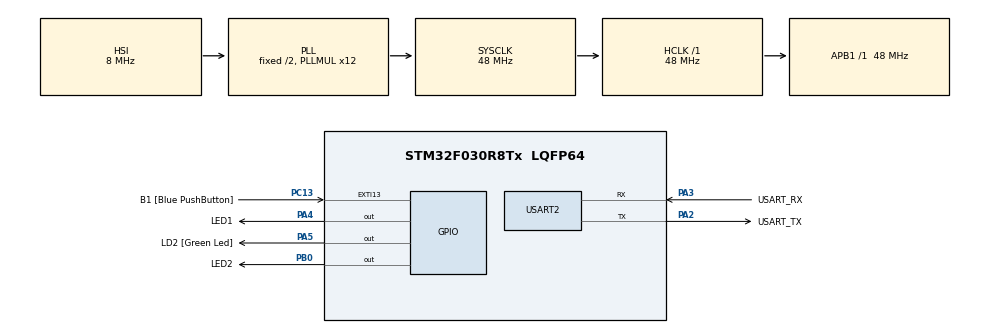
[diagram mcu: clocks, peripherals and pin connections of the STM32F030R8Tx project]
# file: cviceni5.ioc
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Dma.Request0=USART2_RX
Dma.USART2_RX.0.Direction=DMA_PERIPH_TO_MEMORY
Dma.USART2_RX.0.Instance=DMA1_Channel5
Dma.USART2_RX.0.MemDataAlignment=DMA_MDATAALIGN_BYTE
Dma.USART2_RX.0.MemInc=DMA_MINC_ENABLE
Dma.USART2_RX.0.Mode=DMA_CIRCULAR
Dma.USART2_RX.0.PeriphDataAlignment=DMA_PDATAALIGN_BYTE
Dma.USART2_RX.0.PeriphInc=DMA_PINC_DISABLE
Dma.USART2_RX.0.Priority=DMA_PRIORITY_LOW
Mcu.Family=STM32F0
Mcu.Name=STM32F030R8Tx
Mcu.Package=LQFP64
NVIC.DMA1_Channel4_5_IRQn=true\:0\:0\:false\:false\:true\:false\:true\:true
PA13.GPIO_Label=TMS
PA13.Mode=Serial_Wire
PA13.Signal=SYS_SWDIO
PA14.GPIO_Label=TCK
PA14.Mode=Serial_Wire
PA14.Signal=SYS_SWCLK
PA2.GPIO_Label=USART_TX
PA2.GPIO_Mode=GPIO_MODE_AF_PP
PA2.GPIO_PuPd=GPIO_NOPULL
PA2.GPIO_Speed=GPIO_SPEED_FREQ_LOW
PA2.Mode=Asynchronous
PA2.Signal=USART2_TX
PA3.GPIO_Label=USART_RX
PA3.GPIO_Mode=GPIO_MODE_AF_PP
PA3.GPIO_PuPd=GPIO_NOPULL
PA3.GPIO_Speed=GPIO_SPEED_FREQ_LOW
PA3.Mode=Asynchronous
PA3.Signal=USART2_RX
PA4.GPIO_Label=LED1
PA4.GPIO_PuPd=GPIO_NOPULL
PA4.Signal=GPIO_Output
PA5.GPIO_Label=LD2 [Green Led]
PA5.GPIO_Mode=GPIO_MODE_OUTPUT_PP
PA5.GPIO_PuPd=GPIO_NOPULL
PA5.GPIO_Speed=GPIO_SPEED_FREQ_LOW
PA5.Signal=GPIO_Output
PB0.GPIO_Label=LED2
PB0.GPIO_PuPd=GPIO_NOPULL
PB0.Signal=GPIO_Output
PC13.GPIO_Label=B1 [Blue PushButton]
PC13.GPIO_ModeDefaultEXTI=GPIO_MODE_IT_FALLING
PC13.Signal=GPXTI13
PC14-OSC32_IN.Mode=LSE-External-Oscillator
PC14-OSC32_IN.Signal=RCC_OSC32_IN
PC15-OSC32_OUT.Mode=LSE-External-Oscillator
PC15-OSC32_OUT.Signal=RCC_OSC32_OUT
PF0-OSC_IN.Mode=HSE-External-Clock-Source
PF0-OSC_IN.Signal=RCC_OSC_IN
PF1-OSC_OUT.Signal=RCC_OSC_OUT
ProjectManager.HeapSize=0x200
ProjectManager.StackSize=0x400
ProjectManager.TargetToolchain=STM32CubeIDE
RCC.AHBFreq_Value=48000000
RCC.APB1Freq_Value=48000000
RCC.APB1TimFreq_Value=48000000
RCC.HCLKFreq_Value=48000000
RCC.PLLMUL=RCC_PLL_MUL12
RCC.SYSCLKFreq_VALUE=48000000
RCC.SYSCLKSource=RCC_SYSCLKSOURCE_PLLCLK
USART2.VirtualMode-Asynchronous=VM_ASYNC
board=NUCLEO-F030R8

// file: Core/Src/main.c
/* USER CODE BEGIN Header */
/**
  ******************************************************************************
  * @file           : main.c
  * @brief          : Main program body
  ******************************************************************************
  * @attention
  *
  * Copyright (c) 2023 STMicroelectronics.
  * All rights reserved.
  *
  * This software is licensed under terms that can be found in the LICENSE file
  * in the root directory of this software component.
  * If no LICENSE file comes with this software, it is provided AS-IS.
  *
  ******************************************************************************
  */
/* USER CODE END Header */
#include "main.h"

/* USER CODE BEGIN Includes */
#include <stdio.h>
#include <string.h>
/* USER CODE END Includes */

/* USER CODE BEGIN PD */

#define RX_BUFFER_LEN 64
#define CMD_BUFFER_LEN 256
#define uart_rx_write_ptr (RX_BUFFER_LEN - hdma_usart2_rx.Instance->CNDTR)

/* USER CODE END PD */

UART_HandleTypeDef huart2;
DMA_HandleTypeDef hdma_usart2_rx;

/* USER CODE BEGIN PV */
static uint8_t uart_rx_buf[RX_BUFFER_LEN];
static volatile uint16_t uart_rx_read_ptr = 0;
/* USER CODE END PV */

void SystemClock_Config(void);
static void MX_GPIO_Init(void);
static void MX_DMA_Init(void);
static void MX_USART2_UART_Init(void);

/* USER CODE BEGIN 0 */

static void uart_process_command(char *cmd)
{
	char *token;
	token = strtok(cmd, " ");

	if (strcasecmp(token, "HELLO") == 0)
	{
		printf("Hello World!\n");
	}

	else if (strcasecmp(token, "LED1") == 0)
	{
		token = strtok(NULL, " ");
		if (strcasecmp(token, "ON") == 0) HAL_GPIO_WritePin(LED1_GPIO_Port, LED1_Pin, 1);
		else if (strcasecmp(token, "OFF") == 0)  HAL_GPIO_WritePin(LED1_GPIO_Port, LED1_Pin, 0);
		printf("OK\n");
	}

	else if (strcasecmp(token, "LED2") == 0)
	{
		token = strtok(NULL, " ");
		if (strcasecmp(token, "ON") == 0) HAL_GPIO_WritePin(LED2_GPIO_Port, LED2_Pin, 1);
		else if (strcasecmp(token, "OFF") == 0)  HAL_GPIO_WritePin(LED2_GPIO_Port, LED2_Pin, 0);
		printf("OK\n");
	}

	else if (strcasecmp(token, "LEDS") == 0)
	{
		token = strtok(NULL, " ");
		if (strcasecmp(token, "ON") == 0)
			HAL_GPIO_WritePin(LED1_GPIO_Port, LED1_Pin, 1),
			HAL_GPIO_WritePin(LED2_GPIO_Port, LED2_Pin, 1);

		else if (strcasecmp(token, "OFF") == 0)
			HAL_GPIO_WritePin(LED1_GPIO_Port, LED1_Pin, 0),
			HAL_GPIO_WritePin(LED2_GPIO_Port, LED2_Pin, 0);
		printf("OK\n");
	}

	else if (strcasecmp(token, "stav") == 0)
	{
		printf("LED1: %s - LED2: %s \n",
				HAL_GPIO_ReadPin(LED1_GPIO_Port, LED1_Pin) ? "sviti" : "nesviti",
						HAL_GPIO_ReadPin(LED2_GPIO_Port, LED2_Pin) ? "sviti" : "nesviti");
	}
}

int _write(int file, char const *buf, int n)
	{
	/* stdout redirection to UART2 */
	HAL_UART_Transmit(&huart2, (uint8_t*) (buf), n, HAL_MAX_DELAY);
	return n;
	}

static void uart_byte_available(uint8_t c)
{
	static uint16_t cnt;
	static char data[CMD_BUFFER_LEN];
	if (cnt < CMD_BUFFER_LEN && c >= 32 && c <= 126) data[cnt++] = c;
	if ((c == '\n' || c == '\r') && cnt > 0) {
		data[cnt] = '\0';
		uart_process_command(data);
		cnt = 0;
 }
}
/* USER CODE END 0 */

int main(void)
{

  /* MCU Configuration--------------------------------------------------------*/

  /* Reset of all peripherals, Initializes the Flash interface and the Systick. */
  HAL_Init();

  /* Configure the system clock */
  SystemClock_Config();

  /* Initialize all configured peripherals */
  MX_GPIO_Init();
  MX_DMA_Init();
  MX_USART2_UART_Init();
  /* USER CODE BEGIN 2 */

  HAL_UART_Receive_DMA(&huart2, uart_rx_buf, RX_BUFFER_LEN);

  /* USER CODE END 2 */

  /* Infinite loop */
  while (1)
  {

    /* USER CODE BEGIN 3 */
		while (uart_rx_read_ptr != uart_rx_write_ptr) {
			uint8_t b = uart_rx_buf[uart_rx_read_ptr];
			if (++uart_rx_read_ptr >= RX_BUFFER_LEN) uart_rx_read_ptr = 0; // increase read pointer
			uart_byte_available(b); // process every received byte with the RX state machine
		}
  }
  /* USER CODE END 3 */
}

void SystemClock_Config(void)
{
  RCC_OscInitTypeDef RCC_OscInitStruct = {0};
  RCC_ClkInitTypeDef RCC_ClkInitStruct = {0};

  /** Initializes the RCC Oscillators according to the specified parameters
  * in the RCC_OscInitTypeDef structure.
  */
  RCC_OscInitStruct.OscillatorType = RCC_OSCILLATORTYPE_HSI;
  RCC_OscInitStruct.HSIState = RCC_HSI_ON;
  RCC_OscInitStruct.HSICalibrationValue = RCC_HSICALIBRATION_DEFAULT;
  RCC_OscInitStruct.PLL.PLLState = RCC_PLL_ON;
  RCC_OscInitStruct.PLL.PLLSource = RCC_PLLSOURCE_HSI;
  RCC_OscInitStruct.PLL.PLLMUL = RCC_PLL_MUL12;
  RCC_OscInitStruct.PLL.PREDIV = RCC_PREDIV_DIV1;
  if (HAL_RCC_OscConfig(&RCC_OscInitStruct) != HAL_OK)
  {
    Error_Handler();
  }

  /** Initializes the CPU, AHB and APB buses clocks
  */
  RCC_ClkInitStruct.ClockType = RCC_CLOCKTYPE_HCLK|RCC_CLOCKTYPE_SYSCLK
                              |RCC_CLOCKTYPE_PCLK1;
  RCC_ClkInitStruct.SYSCLKSource = RCC_SYSCLKSOURCE_PLLCLK;
  RCC_ClkInitStruct.AHBCLKDivider = RCC_SYSCLK_DIV1;
  RCC_ClkInitStruct.APB1CLKDivider = RCC_HCLK_DIV1;

  if (HAL_RCC_ClockConfig(&RCC_ClkInitStruct, FLASH_LATENCY_1) != HAL_OK)
  {
    Error_Handler();
  }
}

static void MX_USART2_UART_Init(void)
{

  huart2.Instance = USART2;
  huart2.Init.BaudRate = 38400;
  huart2.Init.WordLength = UART_WORDLENGTH_8B;
  huart2.Init.StopBits = UART_STOPBITS_1;
  huart2.Init.Parity = UART_PARITY_NONE;
  huart2.Init.Mode = UART_MODE_TX_RX;
  huart2.Init.HwFlowCtl = UART_HWCONTROL_NONE;
  huart2.Init.OverSampling = UART_OVERSAMPLING_16;
  huart2.Init.OneBitSampling = UART_ONE_BIT_SAMPLE_DISABLE;
  huart2.AdvancedInit.AdvFeatureInit = UART_ADVFEATURE_NO_INIT;
  if (HAL_UART_Init(&huart2) != HAL_OK)
  {
    Error_Handler();
  }

}

static void MX_DMA_Init(void)
{

  /* DMA controller clock enable */
  __HAL_RCC_DMA1_CLK_ENABLE();

  /* DMA interrupt init */
  /* DMA1_Channel4_5_IRQn interrupt configuration */
  HAL_NVIC_SetPriority(DMA1_Channel4_5_IRQn, 0, 0);
  HAL_NVIC_EnableIRQ(DMA1_Channel4_5_IRQn);

}

static void MX_GPIO_Init(void)
{
  GPIO_InitTypeDef GPIO_InitStruct = {0};

  /* GPIO Ports Clock Enable */
  __HAL_RCC_GPIOC_CLK_ENABLE();
  __HAL_RCC_GPIOF_CLK_ENABLE();
  __HAL_RCC_GPIOA_CLK_ENABLE();
  __HAL_RCC_GPIOB_CLK_ENABLE();

  /*Configure GPIO pin Output Level */
  HAL_GPIO_WritePin(GPIOA, LED1_Pin|LD2_Pin, GPIO_PIN_RESET);

  /*Configure GPIO pin Output Level */
  HAL_GPIO_WritePin(LED2_GPIO_Port, LED2_Pin, GPIO_PIN_RESET);

  /*Configure GPIO pin : B1_Pin */
  GPIO_InitStruct.Pin = B1_Pin;
  GPIO_InitStruct.Mode = GPIO_MODE_IT_FALLING;
  GPIO_InitStruct.Pull = GPIO_NOPULL;
  HAL_GPIO_Init(B1_GPIO_Port, &GPIO_InitStruct);

  /*Configure GPIO pins : LED1_Pin LD2_Pin */
  GPIO_InitStruct.Pin = LED1_Pin|LD2_Pin;
  GPIO_InitStruct.Mode = GPIO_MODE_OUTPUT_PP;
  GPIO_InitStruct.Pull = GPIO_NOPULL;
  GPIO_InitStruct.Speed = GPIO_SPEED_FREQ_LOW;
  HAL_GPIO_Init(GPIOA, &GPIO_InitStruct);

  /*Configure GPIO pin : LED2_Pin */
  GPIO_InitStruct.Pin = LED2_Pin;
  GPIO_InitStruct.Mode = GPIO_MODE_OUTPUT_PP;
  GPIO_InitStruct.Pull = GPIO_NOPULL;
  GPIO_InitStruct.Speed = GPIO_SPEED_FREQ_LOW;
  HAL_GPIO_Init(LED2_GPIO_Port, &GPIO_InitStruct);

}

void Error_Handler(void)
{
  __disable_irq();
  while (1)
  {
  }
}
